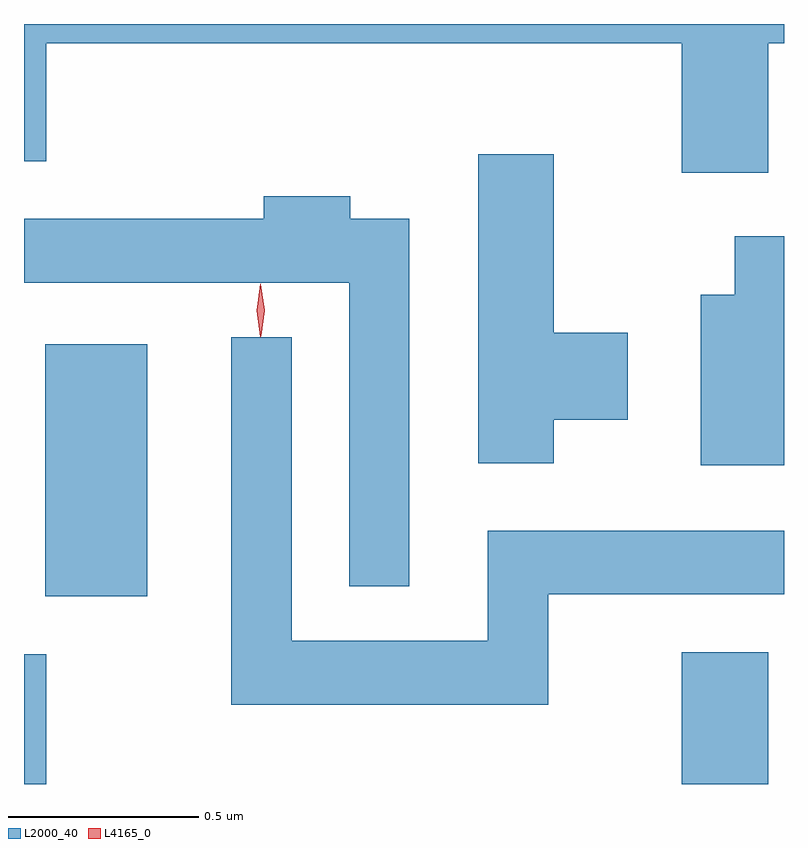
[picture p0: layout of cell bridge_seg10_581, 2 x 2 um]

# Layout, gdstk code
import gdstk
lib = gdstk.Library(unit=1e-6, precision=1e-09)
def R(c, l, rs):  # rectangles x0, y0, x1, y1
    for r in rs: c.add(gdstk.rectangle(r[:2], r[2:], *l))
def P(c, l, *ps):  # polygons
    for p in ps: c.add(gdstk.Polygon(p, *l))
L2000_40 = (2000, 40)
L4165_0 = (4165, 0)

bridge_seg10_581 = lib.new_cell('bridge_seg10_581')
R(bridge_seg10_581, L2000_40, [(763.92,2154.147,763.979,2154.489), (765.651,2154.147,765.879,2154.494), (763.976,2154.641,764.244,2155.304)])
P(bridge_seg10_581, L2000_40, [(765.879,2156.096),(765.92,2156.096),(765.92,2156.147),(763.92,2156.147),(763.92,2155.786),(763.979,2155.786),(763.979,2156.096),(765.651,2156.096),(765.651,2155.756),(765.879,2155.756)],
  [(765.314,2155.106),(765.509,2155.106),(765.509,2155.334),(765.314,2155.334),(765.314,2155.804),(765.116,2155.804),(765.116,2154.991),(765.314,2154.991)],
  [(764.934,2155.634),(764.779,2155.634),(764.779,2155.694),(764.551,2155.694),(764.551,2155.634),(763.92,2155.634),(763.92,2155.466),(764.776,2155.466),(764.776,2154.668),(764.934,2154.668)],
  [(765.92,2155.589),(765.791,2155.589),(765.791,2155.434),(765.701,2155.434),(765.701,2154.986),(765.92,2154.986)],
  [(765.299,2154.646),(765.92,2154.646),(765.92,2154.814),(765.141,2154.814),(765.141,2154.524),(764.624,2154.524),(764.624,2155.323),(764.466,2155.323),(764.466,2154.356),(765.299,2154.356)])
P(bridge_seg10_581, L4165_0, [(764.543,2155.323),(764.542,2155.324),(764.533,2155.393),(764.542,2155.462),(764.543,2155.463),(764.543,2155.462),(764.553,2155.393),(764.543,2155.324)],
  [(764.543,2155.327),(764.543,2155.327),(764.533,2155.394),(764.542,2155.46),(764.543,2155.46),(764.543,2155.46),(764.553,2155.394),(764.544,2155.327)])

lib.write_gds('bridge_seg10_581.gds')
